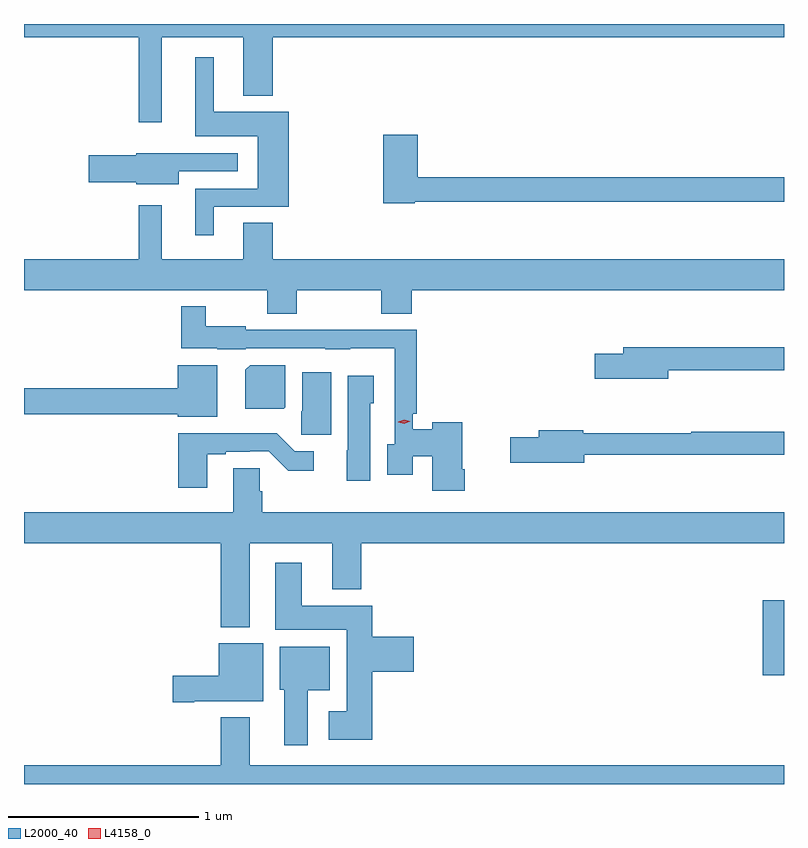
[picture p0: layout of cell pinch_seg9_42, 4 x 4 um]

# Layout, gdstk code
import gdstk
lib = gdstk.Library(unit=1e-6, precision=1e-09)
def R(c, l, rs):  # rectangles x0, y0, x1, y1
    for r in rs: c.add(gdstk.rectangle(r[:2], r[2:], *l))
def P(c, l, *ps):  # polygons
    for p in ps: c.add(gdstk.Polygon(p, *l))
L2000_40 = (2000, 40)
L4158_0 = (4158, 0)

pinch_seg9_42 = lib.new_cell('pinch_seg9_42')
R(pinch_seg9_42, L2000_40, [(998.498,1238.349,998.61,1238.743)])
P(pinch_seg9_42, L2000_40, [(995.335,1241.708),(995.765,1241.708),(995.765,1241.399),(995.918,1241.399),(995.918,1241.708),(998.61,1241.708),(998.61,1241.777),(994.61,1241.777),(994.61,1241.708),(995.214,1241.708),(995.214,1241.259),(995.335,1241.259)],
  [(995.608,1240.815),(996.004,1240.815),(996.004,1241.314),(995.608,1241.314),(995.608,1241.602),(995.51,1241.602),(995.51,1241.186),(995.84,1241.186),(995.84,1240.911),(995.51,1240.911),(995.51,1240.665),(995.608,1240.665)],
  [(996.666,1240.842),(998.61,1240.842),(998.61,1240.97),(996.683,1240.97),(996.683,1241.194),(996.5,1241.194),(996.5,1240.834),(996.666,1240.834)],
  [(995.425,1241.001),(995.734,1241.001),(995.734,1241.097),(995.421,1241.097),(995.421,1241.098),(995.202,1241.098),(995.202,1241.087),(994.95,1241.087),(994.95,1240.945),(995.202,1240.945),(995.202,1240.934),(995.425,1240.934)],
  [(995.918,1240.73),(995.765,1240.73),(995.765,1240.54),(995.335,1240.54),(995.335,1240.822),(995.214,1240.822),(995.214,1240.54),(994.61,1240.54),(994.61,1240.376),(995.89,1240.376),(995.89,1240.252),(996.045,1240.252),(996.045,1240.376),(996.49,1240.376),(996.49,1240.252),(996.65,1240.252),(996.65,1240.376),(998.61,1240.376),(998.61,1240.54),(995.918,1240.54)],
  [(996.929,1239.433),(996.916,1239.433),(996.916,1239.682),(996.758,1239.682),(996.758,1239.644),(996.657,1239.644),(996.657,1239.727),(996.677,1239.727),(996.677,1240.167),(996.427,1240.167),(996.427,1240.169),(996.195,1240.169),(996.195,1240.167),(995.778,1240.167),(995.778,1240.186),(995.566,1240.186),(995.566,1240.291),(995.437,1240.291),(995.437,1240.07),(995.628,1240.07),(995.628,1240.064),(995.778,1240.064),(995.778,1240.071),(996.195,1240.071),(996.195,1240.064),(996.327,1240.064),(996.327,1240.07),(996.561,1240.07),(996.561,1239.566),(996.521,1239.566),(996.521,1239.405),(996.657,1239.405),(996.657,1239.502),(996.758,1239.502),(996.758,1239.321),(996.929,1239.321)],
  [(998.002,1239.954),(998.61,1239.954),(998.61,1240.075),(997.763,1240.075),(997.763,1240.041),(997.614,1240.041),(997.614,1239.911),(998.002,1239.911)],
  [(995.986,1239.76),(995.986,1239.982),(995.8,1239.982),(995.774,1239.956),(995.774,1239.752),(995.978,1239.752)],
  [(995.626,1239.982),(995.42,1239.982),(995.42,1239.86),(994.61,1239.86),(994.61,1239.724),(995.42,1239.724),(995.42,1239.71),(995.626,1239.71)],
  [(996.226,1239.943),(996.074,1239.943),(996.074,1239.738),(996.07,1239.738),(996.07,1239.615),(996.226,1239.615)],
  [(996.433,1239.78),(996.451,1239.78),(996.451,1239.925),(996.314,1239.925),(996.314,1239.534),(996.308,1239.534),(996.308,1239.372),(996.433,1239.372)],
  [(997.558,1239.51),(998.61,1239.51),(998.61,1239.631),(998.123,1239.631),(998.123,1239.623),(997.554,1239.623),(997.554,1239.638),(997.319,1239.638),(997.319,1239.602),(997.17,1239.602),(997.17,1239.467),(997.558,1239.467)],
  [(995.575,1239.513),(995.671,1239.513),(995.671,1239.525),(995.798,1239.525),(995.798,1239.528),(995.898,1239.528),(996.001,1239.426),(996.136,1239.426),(996.136,1239.528),(996.036,1239.528),(995.941,1239.623),(995.423,1239.623),(995.423,1239.336),(995.575,1239.336)],
  [(995.797,1239.044),(996.233,1239.044),(996.233,1238.801),(996.386,1238.801),(996.386,1239.044),(998.61,1239.044),(998.61,1239.208),(995.864,1239.208),(995.864,1239.318),(995.85,1239.318),(995.85,1239.44),(995.711,1239.44),(995.711,1239.208),(994.61,1239.208),(994.61,1239.044),(995.645,1239.044),(995.645,1238.603),(995.797,1238.603)],
  [(996.443,1238.369),(996.661,1238.369),(996.661,1238.552),(996.443,1238.552),(996.443,1238.716),(996.073,1238.716),(996.073,1238.941),(995.933,1238.941),(995.933,1238.588),(996.308,1238.588),(996.308,1238.161),(996.213,1238.161),(996.213,1238.009),(996.443,1238.009)],
  [(995.506,1238.213),(995.869,1238.213),(995.869,1238.518),(995.636,1238.518),(995.636,1238.348),(995.394,1238.348),(995.394,1238.206),(995.506,1238.206)],
  [(996.103,1238.27),(996.22,1238.27),(996.22,1238.5),(995.957,1238.5),(995.957,1238.274),(995.981,1238.274),(995.981,1237.98),(996.103,1237.98)],
  [(998.61,1237.876),(995.797,1237.876),(995.797,1238.128),(995.645,1238.128),(995.645,1237.876),(994.61,1237.876),(994.61,1237.777),(998.61,1237.777)])
P(pinch_seg9_42, L4158_0, [(996.612,1239.674),(996.58,1239.682),(996.58,1239.682),(996.58,1239.683),(996.611,1239.694),(996.643,1239.686),(996.643,1239.686),(996.643,1239.686)])

lib.write_gds('pinch_seg9_42.gds')
